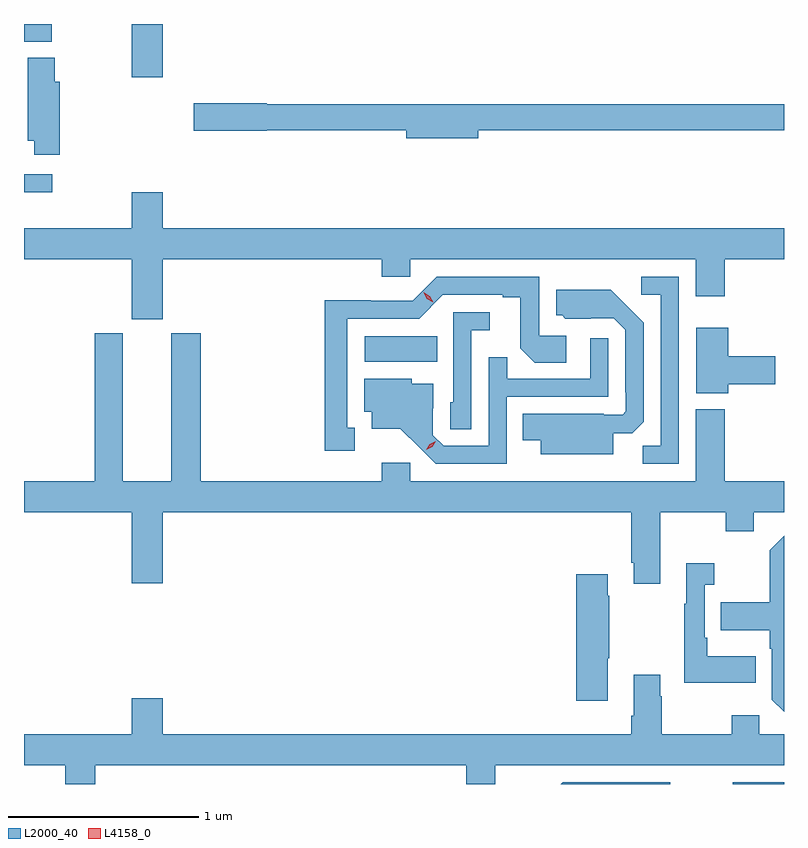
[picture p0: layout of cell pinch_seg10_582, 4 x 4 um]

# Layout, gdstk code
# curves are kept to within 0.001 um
import gdstk
lib = gdstk.Library(unit=1e-6, precision=1e-09)
def R(c, l, rs):  # rectangles x0, y0, x1, y1
    for r in rs: c.add(gdstk.rectangle(r[:2], r[2:], *l))
def P(c, l, *ps):  # polygons
    for p in ps: c.add(gdstk.Polygon(p, *l))
L2000_40 = (2000, 40)
L4158_0 = (4158, 0)

pinch_seg10_582 = lib.new_cell('pinch_seg10_582')
R(pinch_seg10_582, L2000_40, [(347.991,1282.902,348.262,1282.911), (346.056,1285.124,346.436,1285.258), (344.262,1286.016,344.41,1286.112), (344.828,1286.622,344.992,1286.902), (344.262,1286.809,344.409,1286.902)])
P(pinch_seg10_582, L2000_40, [(344.45,1286.598),(344.424,1286.598),(344.424,1286.724),(344.282,1286.724),(344.282,1286.288),(344.315,1286.288),(344.315,1286.214),(344.45,1286.214)],
  [(346.654,1286.344),(348.262,1286.344),(348.262,1286.48),(345.54,1286.48),(345.54,1286.486),(345.156,1286.486),(345.156,1286.339),(345.54,1286.339),(345.54,1286.344),(346.274,1286.344),(346.274,1286.302),(346.654,1286.302)],
  [(344.992,1285.664),(346.145,1285.664),(346.145,1285.571),(346.296,1285.571),(346.296,1285.664),(347.798,1285.664),(347.798,1285.47),(347.951,1285.47),(347.951,1285.664),(348.262,1285.664),(348.262,1285.828),(344.992,1285.828),(344.992,1286.017),(344.828,1286.017),(344.828,1285.828),(344.262,1285.828),(344.262,1285.664),(344.828,1285.664),(344.828,1285.347),(344.992,1285.347)],
  [(346.003,1284.777),(345.964,1284.777),(345.964,1285.35),(346.341,1285.35),(346.467,1285.476),(346.781,1285.476),(346.781,1285.464),(346.875,1285.464),(346.875,1285.196),(346.951,1285.12),(347.116,1285.12),(347.116,1285.26),(346.974,1285.26),(346.974,1285.572),(346.434,1285.572),(346.308,1285.446),(346.086,1285.446),(346.086,1285.448),(345.846,1285.448),(345.846,1284.657),(346.003,1284.657)],
  [(347.709,1285.572),(347.511,1285.572),(347.511,1285.476),(347.613,1285.476),(347.613,1284.683),(347.518,1284.683),(347.518,1284.588),(347.709,1284.588)],
  [(347.362,1284.749),(347.464,1284.749),(347.523,1284.808),(347.523,1285.33),(347.351,1285.504),(347.063,1285.504),(347.063,1285.368),(347.094,1285.368),(347.11,1285.352),(347.367,1285.353),(347.427,1285.293),(347.427,1284.964),(347.43,1284.964),(347.43,1284.864),(347.412,1284.846),(347.312,1284.846),(347.312,1284.85),(346.888,1284.85),(346.888,1284.71),(346.982,1284.71),(346.982,1284.638),(347.362,1284.638)],
  [(346.617,1285.289),(346.714,1285.289),(346.714,1285.386),(346.521,1285.386),(346.521,1284.912),(346.506,1284.912),(346.506,1284.769),(346.617,1284.769)],
  [(347.968,1285.007),(348.217,1285.007),(348.217,1285.154),(347.968,1285.154),(347.968,1285.303),(347.801,1285.303),(347.801,1284.959),(347.968,1284.959)],
  [(347.611,1284.332),(347.956,1284.332),(347.956,1284.233),(348.103,1284.233),(348.103,1284.332),(348.262,1284.332),(348.262,1284.496),(347.951,1284.496),(347.951,1284.874),(347.798,1284.874),(347.798,1284.496),(346.296,1284.496),(346.296,1284.592),(346.145,1284.592),(346.145,1284.496),(345.191,1284.496),(345.191,1285.275),(345.038,1285.275),(345.038,1284.496),(344.782,1284.496),(344.782,1285.275),(344.635,1285.275),(344.635,1284.496),(344.262,1284.496),(344.262,1284.332),(344.828,1284.332),(344.828,1283.958),(344.992,1283.958),(344.992,1284.332),(347.459,1284.332),(347.459,1284.067),(347.471,1284.067),(347.471,1283.955),(347.611,1283.955)],
  [(346.803,1284.939),(347.337,1284.939),(347.337,1285.249),(347.241,1285.249),(347.241,1285.035),(346.805,1285.035),(346.805,1285.148),(346.707,1285.148),(346.707,1284.681),(346.47,1284.681),(346.413,1284.738),(346.413,1284.88),(346.417,1284.88),(346.417,1285.009),(346.302,1285.009),(346.302,1285.036),(346.052,1285.036),(346.052,1284.86),(346.091,1284.86),(346.091,1284.773),(346.243,1284.773),(346.43,1284.588),(346.803,1284.588)],
  [(348.262,1284.208),(348.186,1284.131),(348.186,1283.859),(347.929,1283.859),(347.929,1283.711),(348.186,1283.711),(348.186,1283.615),(348.198,1283.615),(348.198,1283.346),(348.262,1283.282)],
  [(348.113,1283.575),(347.857,1283.575),(347.857,1283.671),(347.844,1283.671),(347.844,1283.951),(347.896,1283.951),(347.896,1284.064),(347.747,1284.064),(347.747,1283.851),(347.736,1283.851),(347.736,1283.435),(348.113,1283.435)],
  [(347.335,1283.563),(347.343,1283.563),(347.343,1283.894),(347.335,1283.894),(347.335,1284.007),(347.168,1284.007),(347.168,1283.34),(347.335,1283.34)],
  [(344.636,1283),(346.589,1283),(346.589,1282.902),(346.741,1282.902),(346.741,1283),(348.262,1283),(348.262,1283.164),(348.132,1283.164),(348.132,1283.263),(347.986,1283.263),(347.986,1283.164),(347.619,1283.164),(347.619,1283.363),(347.611,1283.363),(347.611,1283.476),(347.471,1283.476),(347.471,1283.26),(347.459,1283.26),(347.459,1283.164),(344.992,1283.164),(344.992,1283.353),(344.828,1283.353),(344.828,1283.164),(344.262,1283.164),(344.262,1283),(344.479,1283),(344.479,1282.902),(344.636,1282.902)],
  [(347.662,1282.911),(347.097,1282.911),(347.088,1282.902),(347.662,1282.902)])
P(pinch_seg10_582, L4158_0, [(346.38,1284.662),(346.38,1284.662),(346.398,1284.691),(346.428,1284.706),(346.428,1284.706),(346.428,1284.706),(346.411,1284.676),(346.38,1284.662)],
  [(346.415,1285.437),(346.383,1285.456),(346.366,1285.489),(346.366,1285.489),(346.366,1285.489),(346.398,1285.47),(346.415,1285.437),(346.415,1285.437)])

lib.write_gds('pinch_seg10_582.gds')
